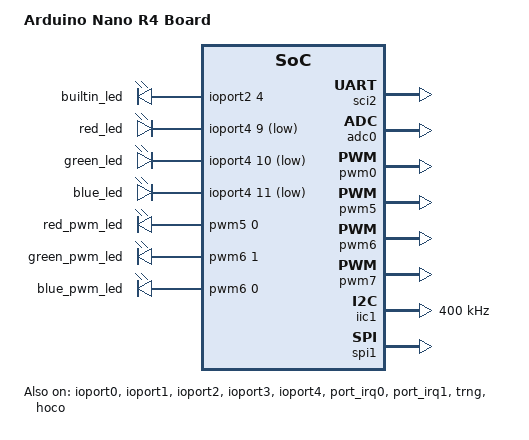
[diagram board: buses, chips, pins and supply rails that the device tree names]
/*
 * Copyright (c) 2026 Sahaj Sarup
 *
 * SPDX-License-Identifier: Apache-2.0
 */

/dts-v1/;

#include <renesas/ra/ra4/r7fa4m1ab3cfm.dtsi>
#include "arduino_nano_r4-pinctrl.dtsi"
#include <zephyr/dt-bindings/gpio/gpio.h>
#include <zephyr/dt-bindings/adc/adc.h>
#include <zephyr/dt-bindings/pwm/pwm.h>
#include <zephyr/dt-bindings/pwm/ra_pwm.h>

/ {
	model = "Arduino Nano R4 Board";
	compatible = "renesas,ra4m1", "renesas,ra";

	aliases {
		led0 = &builtin_led;
		led1 = &green_led;
		led2 = &blue_led;
		led3 = &red_led;
		pwm-led0 = &green_pwm_led;
		red-pwm-led = &red_pwm_led;
		green-pwm-led = &green_pwm_led;
		blue-pwm-led = &blue_pwm_led;
	};

	chosen {
		zephyr,console = &uart2;
		zephyr,shell-uart = &uart2;
		zephyr,sram = &sram0;
		zephyr,flash = &flash0;
		zephyr,entropy = &trng;
		zephyr,code-partition = &code_partition;
	};

	leds {
		compatible = "gpio-leds";

		builtin_led: led_0 {
			gpios = <&ioport2 4 GPIO_ACTIVE_HIGH>;
		};

		red_led: led_1 {
			gpios = <&ioport4 9 GPIO_ACTIVE_LOW>;
		};

		green_led: led_2 {
			gpios = <&ioport4 10 GPIO_ACTIVE_LOW>;
		};

		blue_led: led_3 {
			gpios = <&ioport4 11 GPIO_ACTIVE_LOW>;
		};
	};

	pwmleds {
		compatible = "pwm-leds";

		red_pwm_led: red_pwm_led {
			pwms = <&pwm5 0 PWM_MSEC(1) PWM_POLARITY_INVERTED>;
		};

		green_pwm_led: green_pwm_led {
			pwms = <&pwm6 1 PWM_MSEC(1) PWM_POLARITY_INVERTED>;
		};

		blue_pwm_led: blue_pwm_led {
			pwms = <&pwm6 0 PWM_MSEC(1) PWM_POLARITY_INVERTED>;
		};
	};
};

&sci2 {
	status = "okay";
	pinctrl-0 = <&sci2_default>;
	pinctrl-names = "default";
	interrupts = <0 1>, <1 1>, <2 1>, <3 1>;
	interrupt-names = "rxi", "txi", "tei", "eri";

	uart2: uart {
		current-speed = <115200>;
		status = "okay";
	};
};

&ioport0 {
	status = "okay";
};

&ioport1 {
	status = "okay";
};

&ioport2 {
	status = "okay";
};

&ioport3 {
	status = "okay";
};

&ioport4 {
	status = "okay";
};

&adc0 {
	status = "okay";
	pinctrl-0 = <&adc0_default>;
	pinctrl-names = "default";
};

&port_irq0 {
	interrupts = <27 12>;
	status = "okay";
};

&port_irq1 {
	interrupts = <28 12>;
	status = "okay";
};

&trng {
	status = "okay";
};

&pwm0 {
	pinctrl-0 = <&pwm0_default>;
	pinctrl-names = "default";
	interrupts = <14 1>, <15 1>;
	interrupt-names = "gtioca", "overflow";
	status = "okay";
};

&pwm5 {
	pinctrl-0 = <&pwm5_default>;
	pinctrl-names = "default";
	interrupts = <16 1>, <17 1>;
	interrupt-names = "gtioca", "overflow";
	divider = <RA_PWM_SOURCE_DIV_256>;
	status = "okay";
};

&pwm6 {
	pinctrl-0 = <&pwm6_default>;
	pinctrl-names = "default";
	interrupts = <18 1>, <19 1>;
	interrupt-names = "gtioca", "overflow";
	divider = <RA_PWM_SOURCE_DIV_256>;
	status = "okay";
};

&pwm7 {
	pinctrl-0 = <&pwm7_default>;
	pinctrl-names = "default";
	interrupts = <8 1>, <9 1>;
	interrupt-names = "gtioca", "overflow";
	status = "okay";
};

&iic1 {
	pinctrl-0 = <&iic1_default>;
	pinctrl-names = "default";
	#address-cells = <1>;
	#size-cells = <0>;
	clock-frequency = <DT_FREQ_K(400)>;
	interrupts = <10 1>, <11 1>, <12 1>, <13 1>;
	interrupt-names = "rxi", "txi", "tei", "eri";
	status = "okay";
};

&spi1 {
	pinctrl-0 = <&spi1_default>;
	pinctrl-names = "default";
	interrupts = <28 1>, <29 1>, <30 1>, <31 1>;
	interrupt-names = "rxi", "txi", "tei", "eri";
	status = "okay";
};

&flash0 {
	partitions {
		ranges;
		#address-cells = <1>;
		#size-cells = <1>;

		boot_partition: partition@0 {
			compatible = "zephyr,mapped-partition";
			label = "bootloader";
			reg = <0x00000000 0x4000>;
			read-only;
		};

		code_partition: partition@4000 {
			compatible = "zephyr,mapped-partition";
			label = "code";
			reg = <0x4000 0x3c000>;
			read-only;
		};
	};
};

&hoco {
	status = "okay";
	clock-frequency = <48000000>;
};

&pclkblock {
	clocks = <&hoco>;
};

&iclk {
	div = <1>;
};

&pclka {
	div = <1>;
};

&pclkb {
	div = <2>;
};

&pclkc {
	div = <1>;
};

&pclkd {
	div = <1>;
};

&fclk {
	div = <2>;
};

#include "arduino_nano_connector.dtsi"
